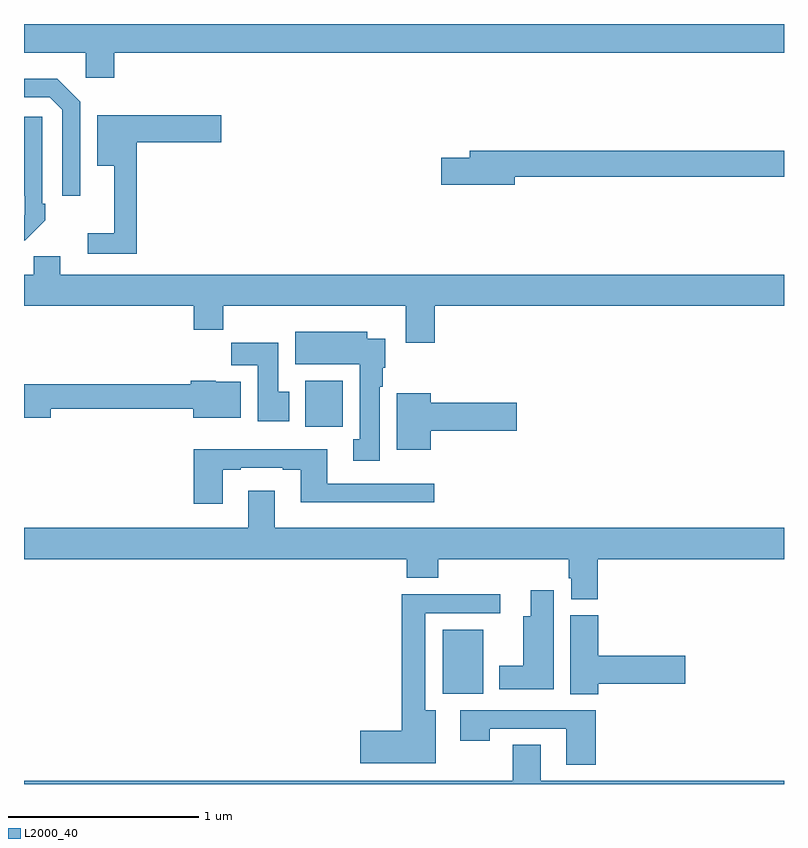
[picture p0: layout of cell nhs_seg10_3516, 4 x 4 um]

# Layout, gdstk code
import gdstk
lib = gdstk.Library(unit=1e-6, precision=1e-09)
def R(c, l, rs):  # rectangles x0, y0, x1, y1
    for r in rs: c.add(gdstk.rectangle(r[:2], r[2:], *l))
def P(c, l, *ps):  # polygons
    for p in ps: c.add(gdstk.Polygon(p, *l))
L2000_40 = (2000, 40)

nhs_seg10_3516 = lib.new_cell('nhs_seg10_3516')
R(nhs_seg10_3516, L2000_40, [(305.204,1264.976,305.416,1265.311), (304.481,1266.38,304.678,1266.622)])
P(nhs_seg10_3516, L2000_40, [(303.476,1268.348),(307,1268.348),(307,1268.5),(303,1268.5),(303,1268.348),(303.324,1268.348),(303.324,1268.217),(303.476,1268.217)],
  [(303.297,1268.091),(303.176,1268.212),(303,1268.212),(303,1268.115),(303.135,1268.115),(303.201,1268.049),(303.201,1267.596),(303.297,1267.596)],
  [(303.593,1267.877),(304.039,1267.877),(304.039,1268.019),(303.386,1268.019),(303.386,1267.754),(303.476,1267.754),(303.476,1267.399),(303.336,1267.399),(303.336,1267.29),(303.593,1267.29)],
  [(303.005,1267.363),(303.006,1267.362),(303.111,1267.467),(303.111,1267.555),(303.096,1267.555),(303.096,1268.013),(303,1268.013),(303,1267.597),(303.003,1267.597),(303.003,1267.497),(303,1267.494),(303,1267.358)],
  [(305.584,1267.696),(307,1267.696),(307,1267.832),(305.345,1267.832),(305.345,1267.796),(305.196,1267.796),(305.196,1267.654),(305.584,1267.654)],
  [(305.162,1267.016),(307,1267.016),(307,1267.18),(303.19,1267.18),(303.19,1267.278),(303.051,1267.278),(303.051,1267.18),(303,1267.18),(303,1267.016),(303.893,1267.016),(303.893,1266.892),(304.049,1266.892),(304.049,1267.016),(305.009,1267.016),(305.009,1266.822),(305.162,1266.822)],
  [(304.873,1266.59),(304.888,1266.59),(304.888,1266.69),(304.9,1266.69),(304.9,1266.844),(304.807,1266.844),(304.807,1266.88),(304.427,1266.88),(304.427,1266.71),(304.766,1266.71),(304.766,1266.314),(304.733,1266.314),(304.733,1266.201),(304.873,1266.201)],
  [(304.396,1266.564),(304.339,1266.564),(304.339,1266.822),(304.09,1266.822),(304.09,1266.704),(304.229,1266.704),(304.229,1266.408),(304.396,1266.408)],
  [(303.142,1266.475),(303.89,1266.475),(303.89,1266.428),(304.141,1266.428),(304.141,1266.616),(304.008,1266.616),(304.008,1266.622),(303.878,1266.622),(303.878,1266.604),(303,1266.604),(303,1266.428),(303.142,1266.428)],
  [(305.14,1266.359),(305.593,1266.359),(305.593,1266.506),(305.14,1266.506),(305.14,1266.556),(304.961,1266.556),(304.961,1266.26),(305.14,1266.26)],
  [(304.045,1266.153),(304.141,1266.153),(304.141,1266.165),(304.361,1266.165),(304.361,1266.153),(304.457,1266.153),(304.457,1265.984),(305.158,1265.984),(305.158,1266.081),(304.597,1266.081),(304.597,1266.262),(303.893,1266.262),(303.893,1265.976),(304.045,1265.976)],
  [(305.015,1265.585),(305.18,1265.585),(305.18,1265.684),(305.867,1265.684),(305.867,1265.583),(305.879,1265.583),(305.879,1265.473),(306.02,1265.473),(306.02,1265.684),(307,1265.684),(307,1265.848),(304.321,1265.848),(304.321,1266.043),(304.181,1266.043),(304.181,1265.848),(303,1265.848),(303,1265.684),(305.015,1265.684)],
  [(305.788,1265.521),(305.666,1265.521),(305.666,1265.383),(305.627,1265.383),(305.627,1265.122),(305.501,1265.122),(305.501,1265),(305.788,1265)],
  [(305.167,1264.888),(305.113,1264.888),(305.113,1265.4),(305.506,1265.4),(305.506,1265.498),(304.988,1265.498),(304.988,1264.781),(304.77,1264.781),(304.77,1264.61),(305.167,1264.61)],
  [(306.023,1265.027),(306.481,1265.027),(306.481,1265.174),(306.023,1265.174),(306.023,1265.388),(305.876,1265.388),(305.876,1264.972),(306.023,1264.972)],
  [(306.008,1264.887),(305.295,1264.887),(305.295,1264.728),(305.451,1264.728),(305.451,1264.791),(305.855,1264.791),(305.855,1264.602),(306.008,1264.602)],
  [(307,1264.516),(305.719,1264.516),(305.719,1264.706),(305.572,1264.706),(305.572,1264.516),(303,1264.516),(303,1264.5),(307,1264.5)])

lib.write_gds('nhs_seg10_3516.gds')
